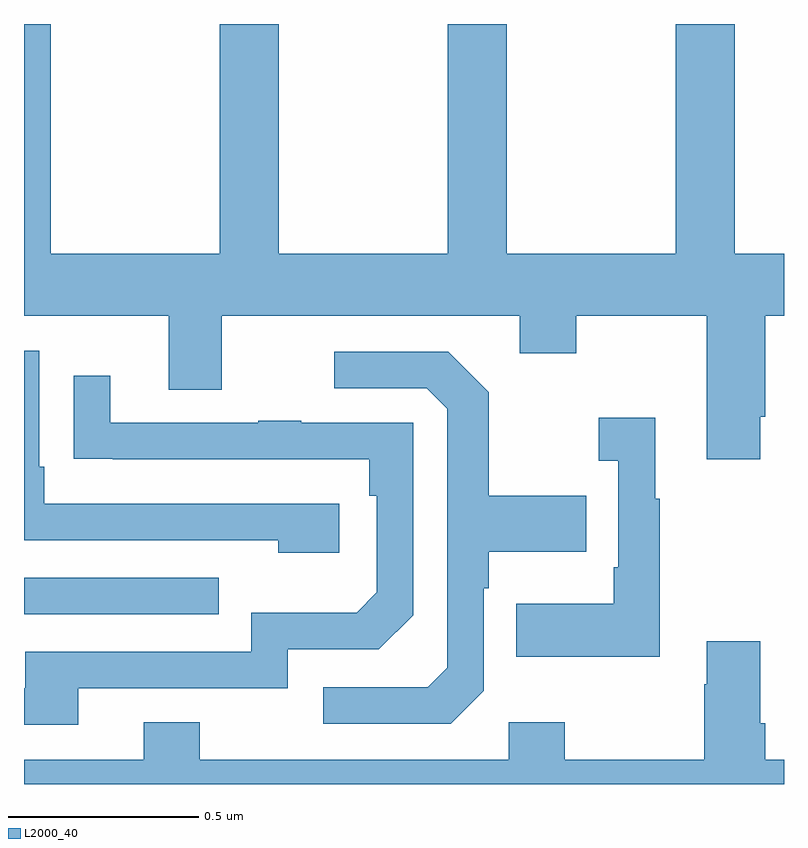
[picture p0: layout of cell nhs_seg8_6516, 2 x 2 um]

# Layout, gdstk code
import gdstk
lib = gdstk.Library(unit=1e-6, precision=1e-09)
def R(c, l, rs):  # rectangles x0, y0, x1, y1
    for r in rs: c.add(gdstk.rectangle(r[:2], r[2:], *l))
def P(c, l, *ps):  # polygons
    for p in ps: c.add(gdstk.Polygon(p, *l))
L2000_40 = (2000, 40)

nhs_seg8_6516 = lib.new_cell('nhs_seg8_6516')
R(nhs_seg8_6516, L2000_40, [(197,1150.347,197.513,1150.443)])
P(nhs_seg8_6516, L2000_40, [(198.937,1150.867),(198.95,1150.867),(198.95,1151.132),(199,1151.132),(199,1151.296),(198.87,1151.296),(198.87,1151.9),(198.715,1151.9),(198.715,1151.296),(198.27,1151.296),(198.27,1151.9),(198.115,1151.9),(198.115,1151.296),(197.67,1151.296),(197.67,1151.9),(197.515,1151.9),(197.515,1151.296),(197.07,1151.296),(197.07,1151.9),(197,1151.9),(197,1151.132),(197.381,1151.132),(197.381,1150.938),(197.521,1150.938),(197.521,1151.132),(198.305,1151.132),(198.305,1151.033),(198.453,1151.033),(198.453,1151.132),(198.797,1151.132),(198.797,1150.755),(198.937,1150.755)],
  [(197.83,1150.638),(197.053,1150.638),(197.053,1150.735),(197.04,1150.735),(197.04,1151.04),(197,1151.04),(197,1150.542),(197.669,1150.542),(197.669,1150.508),(197.83,1150.508)],
  [(198.21,1150.146),(198.21,1150.415),(198.223,1150.415),(198.223,1150.511),(198.479,1150.511),(198.479,1150.659),(198.223,1150.659),(198.223,1150.931),(198.117,1151.037),(197.817,1151.037),(197.817,1150.941),(198.06,1150.941),(198.114,1150.887),(198.114,1150.206),(198.063,1150.155),(197.787,1150.155),(197.787,1150.059),(198.123,1150.059)],
  [(197.143,1150.152),(197.694,1150.152),(197.694,1150.254),(197.934,1150.254),(198.024,1150.344),(198.024,1150.851),(197.729,1150.851),(197.729,1150.856),(197.617,1150.856),(197.617,1150.851),(197.227,1150.851),(197.227,1150.975),(197.131,1150.975),(197.131,1150.756),(197.233,1150.756),(197.233,1150.755),(197.908,1150.755),(197.908,1150.658),(197.928,1150.658),(197.928,1150.404),(197.875,1150.351),(197.598,1150.351),(197.598,1150.248),(197.003,1150.248),(197.003,1150.152),(197,1150.152),(197,1150.056),(197.143,1150.056)],
  [(198.673,1150.651),(198.661,1150.651),(198.661,1150.864),(198.513,1150.864),(198.513,1150.751),(198.564,1150.751),(198.564,1150.471),(198.552,1150.471),(198.552,1150.375),(198.295,1150.375),(198.295,1150.235),(198.673,1150.235)],
  [(199,1149.964),(198.95,1149.964),(198.95,1150.06),(198.937,1150.06),(198.937,1150.276),(198.797,1150.276),(198.797,1150.163),(198.79,1150.163),(198.79,1149.964),(198.423,1149.964),(198.423,1150.063),(198.276,1150.063),(198.276,1149.964),(197.463,1149.964),(197.463,1150.063),(197.315,1150.063),(197.315,1149.964),(197,1149.964),(197,1149.9),(199,1149.9)])

lib.write_gds('nhs_seg8_6516.gds')
